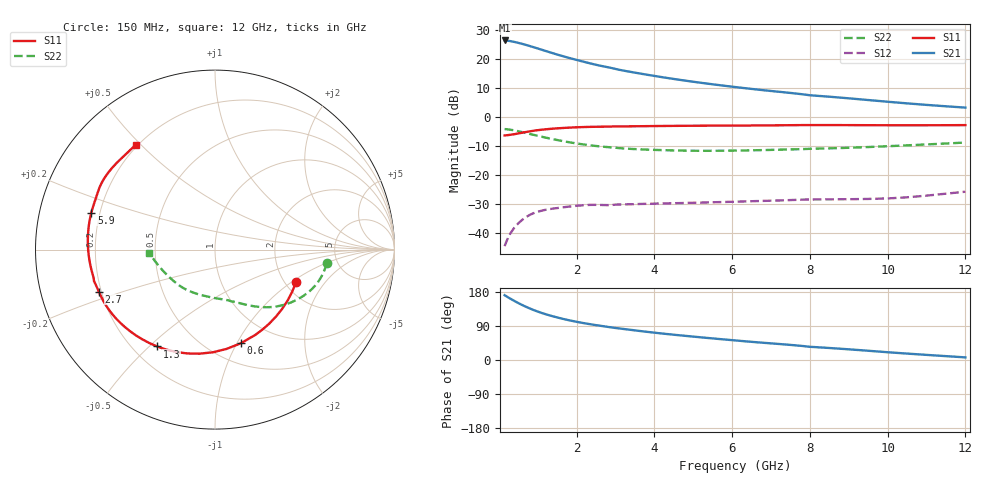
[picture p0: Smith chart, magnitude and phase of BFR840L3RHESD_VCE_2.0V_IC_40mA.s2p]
! Infineon Technologies  Discrete & RF Semiconductors
! BFR840L3RHESD
! VCE =  2.0 V,  IC =  40 mA
! Common Emitter S-Parameters:  Jun 2012
# GHz  S  MA  R  50
!  f  S11  S21  S12  S22
! GHz  MAG  ANG  MAG  ANG  MAG  ANG  MAG  ANG
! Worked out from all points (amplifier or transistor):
!   91 points, 150 MHz to 12 GHz, reference 50 ohm
!   highest |S21| = 26.5 dB at 150 MHz (marker M1)
!   |S21| within 3 dB of that: start of sweep to 1.057 GHz
!   unconditionally stable (mu >= 1): start of sweep to 402 MHz; 2.962 GHz to end of sweep
!   at 1.3 GHz: K = 0.66, MSG = 27.1 dB, |S12| = -31.7 dB
!   at 4.3 GHz: K = 1.36, MAG = 18.1 dB, |S12| = -29.7 dB
!   at 12 GHz: K = 2.74, MAG = 7.3 dB, |S12| = -25.7 dB
!   S11 on the Smith chart (normalised r, x): 150 MHz: 2.28, -1.08; 600 MHz: 0.70, -1.04; 1.3 GHz: 0.30, -0.53; 2.7 GHz: 0.19, -0.17; 5.9 GHz: 0.17, +0.14; 12 GHz: 0.19, +0.48
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0.15  0.4861 -21.9  21.08 171.0  0.006 53.3  0.626 -6.9
0.25  0.4943 -35.2  20.76 164.7  0.0087 59.3  0.6165 -12.5
0.4  0.5111 -53.6  19.89 155.9  0.0125 56.9  0.5933 -19.7
0.5  0.5255 -64.6  19.18 150.4  0.0148 54.0  0.5745 -24.0
0.6  0.5413 -74.5  18.42 145.2  0.017 51.4  0.5547 -27.9
0.7  0.5572 -83.4  17.65 140.4  0.019 49.0  0.5349 -31.5
0.9  0.5863 -98.5  16.09 131.7  0.0223 45.3  0.4968 -38.0
1.1  0.6099 -110.7  14.62 124.3  0.0245 42.2  0.4625 -43.4
1.3  0.6285 -120.8  13.26 118.0  0.0261 39.1  0.4321 -48.0
1.5  0.6437 -129.2  12.07 112.4  0.0272 36.1  0.4056 -52.0
1.7  0.6564 -136.2  11.04 107.3  0.0283 33.3  0.3825 -55.6
2  0.6715 -145.0  9.744 100.8  0.0298 30.4  0.354 -60.3
2.2  0.6789 -150.0  8.997 97.0  0.0305 29.5  0.3387 -63.2
2.7  0.6885 -160.1  7.515 89.0  0.0307 28.4  0.3101 -69.8
3.3  0.6968 -169.9  6.211 80.7  0.0316 26.9  0.2877 -77.3
4.2  0.7074 179.2  4.911 69.9  0.0327 27.9  0.2715 -88.6
5  0.7142 171.0  4.095 61.7  0.0336 28.7  0.2649 -99.1
5.9  0.719 163.3  3.429 53.3  0.0348 30.8  0.2657 -110.9
6.1  0.7196 161.7  3.306 51.5  0.035 31.3  0.2666 -113.6
8.5  0.7335 144.7  2.262 31.7  0.0385 34.7  0.291 -144.1
10.5  0.7275 133.5  1.736 16.9  0.0417 44.6  0.3281 -164.6
12  0.7324 127.1  1.467 6.9  0.0521 49.0  0.3668 -177.3
